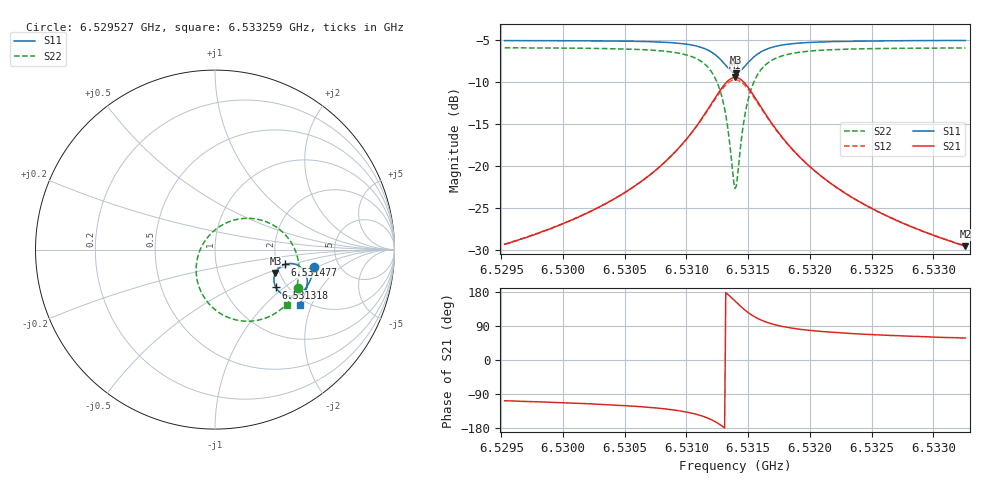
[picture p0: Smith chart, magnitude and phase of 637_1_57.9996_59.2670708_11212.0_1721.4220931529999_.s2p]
#  HZ  S  RI  R  50.00
! Rohde & Schwarz Vector Network Analyzer
! Rohde-Schwarz,ZNB20-2Port,1311601062101988,3.16
! Created: UTC 3/21/2024, 1:18:53 AM
! freq[Hz]  re:S11  im:S11  re:S21  im:S21  re:S12  im:S12  re:S22  im:S22
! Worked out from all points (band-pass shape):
!   401 points, 6.529527 GHz to 6.533259 GHz, reference 50 ohm
!   highest |S21| = -9.42 dB at 6.531393 GHz (marker M1); lowest = -29.6 dB at 6.533259 GHz (marker M2)
!   |S21| within 3 dB of the highest: 6.531208 GHz to 6.53158 GHz (372.5 kHz wide, 0.0057 % of centre)
!   lowest |S11| = -8.9 dB at 6.531402 GHz (marker M3), VSWR 2.13, Z = 95.1 - j28.5 ohm
!   |S11| at or under -10 dB: nowhere
!   |S22| runs from -22.7 to -5.9 dB; largest |S21 - S12| = 0.014
!   S11 on the Smith chart (normalised r, x): 6.529527 GHz: 3.27, -0.92; 6.531318 GHz: 1.75, -0.88; 6.531477 GHz: 2.21, -0.43; 6.533259 GHz: 1.83, -1.64
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6.5295269e9  0.5522 -0.096  -0.0103 -0.0325  -0.0111 -0.0324  0.4606 -0.2135
6.530152e9  0.5391 -0.1487  -0.0211 -0.0461  -0.0223 -0.0457  0.4249 -0.2724
6.5305065e9  0.5254 -0.1829  -0.0355 -0.0603  -0.0372 -0.0594  0.3872 -0.315
6.5307771e9  0.5069 -0.2135  -0.0597 -0.078  -0.062 -0.0762  0.3335 -0.3566
6.5309917e9  0.4771 -0.2421  -0.104 -0.0975  -0.1069 -0.0935  0.2445 -0.3925
6.5311596e9  0.4247 -0.2594  -0.1852 -0.0999  -0.1871 -0.0919  0.0973 -0.3865
6.5312529e9  0.3747 -0.2474  -0.2623 -0.0623  -0.2595 -0.0511  -0.0281 -0.308
6.5312902e9  0.3529 -0.2301  -0.2941 -0.0263  -0.2881 -0.0148  -0.0745 -0.2415
6.5313182e9  0.339 -0.2107  -0.3126 0.0111  -0.304 0.0216  -0.0982 -0.1757
6.5313742e9  0.3289 -0.158  -0.3189 0.1062  -0.306 0.1114  -0.0896 -0.019
6.5313928e9  0.333 -0.1392  -0.3082 0.1388  -0.2951 0.1417  -0.0663 0.0322
6.5314022e9  0.3365 -0.1303  -0.3005 0.1543  -0.2875 0.1559  -0.0508 0.0559
6.5314115e9  0.341 -0.1216  -0.2914 0.1688  -0.2786 0.1695  -0.0333 0.0778
6.5314395e9  0.3589 -0.1  -0.2567 0.2053  -0.2454 0.2029  0.0296 0.131
6.5314768e9  0.3889 -0.0824  -0.2024 0.234  -0.1942 0.2297  0.1238 0.1687
6.5315421e9  0.4387 -0.0793  -0.1155 0.2385  -0.1116 0.2344  0.2688 0.1608
6.5316354e9  0.4829 -0.1029  -0.0404 0.2029  -0.0388 0.2006  0.39 0.0846
6.5317754e9  0.508 -0.1423  0.00356 0.1484  0.00472 0.1475  0.4544 -0.0238
6.5320179e9  0.5141 -0.1894  0.0209 0.0943  0.0222 0.0939  0.4682 -0.1343
6.5322792e9  0.5082 -0.2233  0.0226 0.0655  0.0236 0.0653  0.4567 -0.1987
6.532643e9  0.4958 -0.2586  0.021 0.0448  0.0218 0.0445  0.4356 -0.2529
6.5332588e9  0.4712 -0.306  0.0177 0.0282  0.0182 0.0279  0.4008 -0.3106
